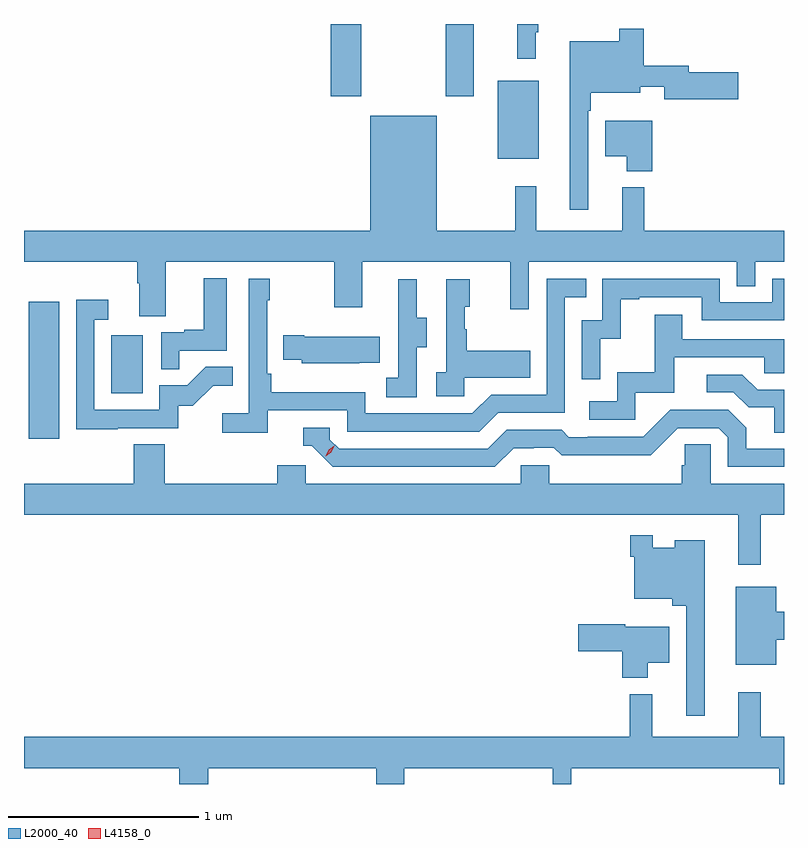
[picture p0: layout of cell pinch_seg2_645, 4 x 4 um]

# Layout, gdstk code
import gdstk
lib = gdstk.Library(unit=1e-6, precision=1e-09)
def R(c, l, rs):  # rectangles x0, y0, x1, y1
    for r in rs: c.add(gdstk.rectangle(r[:2], r[2:], *l))
def P(c, l, *ps):  # polygons
    for p in ps: c.add(gdstk.Polygon(p, *l))
L2000_40 = (2000, 40)
L4158_0 = (4158, 0)

pinch_seg2_645 = lib.new_cell('pinch_seg2_645')
R(pinch_seg2_645, L2000_40, [(1035.791,589.428,1035.952,590.149), (1036.226,589.668,1036.39,589.975), (1038.26,590.903,1038.475,591.313), (1037.381,591.231,1037.541,591.612), (1037.986,591.231,1038.133,591.612)])
P(pinch_seg2_645, L2000_40, [(1038.46,591.569),(1038.472,591.569),(1038.472,591.612),(1038.361,591.612),(1038.361,591.429),(1038.46,591.429)],
  [(1038.735,591.155),(1038.748,591.155),(1038.748,591.251),(1039.009,591.251),(1039.009,591.281),(1039.136,591.281),(1039.136,591.215),(1039.525,591.215),(1039.525,591.357),(1039.264,591.357),(1039.264,591.391),(1039.028,591.391),(1039.028,591.586),(1038.9,591.586),(1038.9,591.52),(1038.638,591.52),(1038.638,590.634),(1038.735,590.634)],
  [(1036.513,590.36),(1037.398,590.36),(1037.398,590.121),(1037.545,590.121),(1037.545,590.36),(1038.326,590.36),(1038.326,590.112),(1038.423,590.112),(1038.423,590.36),(1039.518,590.36),(1039.518,590.233),(1039.614,590.233),(1039.614,590.36),(1039.766,590.36),(1039.766,590.524),(1039.031,590.524),(1039.031,590.752),(1038.914,590.752),(1038.914,590.524),(1038.461,590.524),(1038.461,590.758),(1038.351,590.758),(1038.351,590.524),(1037.938,590.524),(1037.938,591.13),(1037.588,591.13),(1037.588,590.524),(1035.766,590.524),(1035.766,590.36),(1036.361,590.36),(1036.361,590.248),(1036.373,590.248),(1036.373,590.074),(1036.513,590.074)],
  [(1039.073,591.103),(1038.824,591.103),(1038.824,590.915),(1038.938,590.915),(1038.938,590.837),(1039.073,590.837)],
  [(1036.583,589.893),(1036.834,589.893),(1036.834,590.275),(1036.712,590.275),(1036.712,590.002),(1036.609,590.002),(1036.609,589.989),(1036.488,589.989),(1036.488,589.795),(1036.583,589.795)],
  [(1037.048,589.578),(1037.466,589.578),(1037.466,589.467),(1038.163,589.467),(1038.262,589.566),(1038.612,589.566),(1038.612,590.175),(1038.725,590.175),(1038.725,590.271),(1038.516,590.271),(1038.516,589.662),(1038.225,589.662),(1038.126,589.563),(1037.562,589.563),(1037.562,589.675),(1037.066,589.675),(1037.066,589.771),(1037.046,589.771),(1037.046,590.159),(1037.059,590.159),(1037.059,590.272),(1036.95,590.272),(1036.95,589.564),(1036.809,589.564),(1036.809,589.462),(1037.048,589.462)],
  [(1038.798,589.955),(1038.908,589.955),(1038.908,590.163),(1039.003,590.163),(1039.003,590.175),(1039.332,590.175),(1039.332,590.052),(1039.766,590.052),(1039.766,590.271),(1039.704,590.271),(1039.704,590.148),(1039.428,590.148),(1039.428,590.271),(1038.81,590.271),(1038.81,590.052),(1038.702,590.052),(1038.702,589.743),(1038.798,589.743)],
  [(1038.084,589.751),(1038.431,589.751),(1038.431,589.891),(1038.097,589.891),(1038.097,590.006),(1038.087,590.006),(1038.087,590.124),(1038.112,590.124),(1038.112,590.269),(1037.988,590.269),(1037.988,589.778),(1037.937,589.778),(1037.937,589.653),(1038.084,589.653)],
  [(1037.832,589.912),(1037.887,589.912),(1037.887,590.067),(1037.833,590.067),(1037.833,590.269),(1037.735,590.269),(1037.735,590.055),(1037.736,590.055),(1037.736,589.751),(1037.673,589.751),(1037.673,589.648),(1037.832,589.648)],
  [(1036.259,589.485),(1036.578,589.485),(1036.578,589.602),(1036.654,589.602),(1036.761,589.709),(1036.865,589.709),(1036.865,589.808),(1036.722,589.808),(1036.624,589.71),(1036.479,589.71),(1036.479,589.581),(1036.137,589.581),(1036.137,590.055),(1036.21,590.055),(1036.21,590.161),(1036.041,590.161),(1036.041,589.48),(1036.259,589.48)],
  [(1038.984,589.671),(1039.189,589.671),(1039.189,589.857),(1039.663,589.857),(1039.663,589.773),(1039.766,589.773),(1039.766,589.953),(1039.231,589.953),(1039.231,590.083),(1039.087,590.083),(1039.087,589.78),(1038.888,589.78),(1038.888,589.626),(1038.741,589.626),(1038.741,589.53),(1038.984,589.53)],
  [(1037.531,589.829),(1037.639,589.829),(1037.639,589.966),(1037.242,589.966),(1037.242,589.974),(1037.131,589.974),(1037.131,589.844),(1037.229,589.844),(1037.229,589.826),(1037.531,589.826)],
  [(1039.766,589.686),(1039.627,589.686),(1039.546,589.767),(1039.359,589.767),(1039.359,589.674),(1039.5,589.674),(1039.58,589.594),(1039.715,589.594),(1039.715,589.462),(1039.766,589.462)],
  [(1038.343,589.38),(1038.45,589.38),(1038.45,589.383),(1038.553,589.383),(1038.595,589.341),(1038.828,589.341),(1038.828,589.343),(1039.064,589.343),(1039.206,589.485),(1039.422,589.485),(1039.47,589.437),(1039.47,589.281),(1039.766,589.281),(1039.766,589.377),(1039.567,589.377),(1039.567,589.487),(1039.473,589.581),(1039.167,589.581),(1039.026,589.44),(1038.733,589.44),(1038.733,589.437),(1038.634,589.437),(1038.595,589.476),(1038.306,589.476),(1038.207,589.377),(1037.424,589.377),(1037.376,589.425),(1037.376,589.488),(1037.237,589.488),(1037.237,589.392),(1037.28,589.392),(1037.391,589.281),(1038.244,589.281)],
  [(1039.643,589.028),(1039.766,589.028),(1039.766,589.192),(1039.38,589.192),(1039.38,589.4),(1039.243,589.4),(1039.243,589.29),(1039.228,589.29),(1039.228,589.192),(1038.531,589.192),(1038.531,589.29),(1038.381,589.29),(1038.381,589.192),(1037.25,589.192),(1037.25,589.29),(1037.099,589.29),(1037.099,589.192),(1036.507,589.192),(1036.507,589.4),(1036.343,589.4),(1036.343,589.192),(1035.766,589.192),(1035.766,589.028),(1039.526,589.028),(1039.526,588.765),(1039.643,588.765)],
  [(1039.348,588.895),(1039.19,588.895),(1039.19,588.856),(1039.074,588.856),(1039.074,588.922),(1038.958,588.922),(1038.958,588.809),(1038.978,588.809),(1038.978,588.587),(1039.178,588.587),(1039.178,588.551),(1039.251,588.551),(1039.251,587.97),(1039.348,587.97)],
  [(1039.726,588.371),(1039.766,588.371),(1039.766,588.518),(1039.726,588.518),(1039.726,588.649),(1039.511,588.649),(1039.511,588.239),(1039.726,588.239)],
  [(1039.048,588.251),(1039.162,588.251),(1039.162,588.439),(1038.93,588.439),(1038.93,588.452),(1038.684,588.452),(1038.684,588.31),(1038.914,588.31),(1038.914,588.17),(1039.048,588.17)],
  [(1036.735,587.696),(1037.62,587.696),(1037.62,587.612),(1037.767,587.612),(1037.767,587.696),(1038.548,587.696),(1038.548,587.612),(1038.645,587.612),(1038.645,587.696),(1039.74,587.696),(1039.74,587.612),(1039.766,587.612),(1039.766,587.86),(1039.643,587.86),(1039.643,588.094),(1039.526,588.094),(1039.526,587.86),(1039.073,587.86),(1039.073,588.085),(1038.955,588.085),(1038.955,587.86),(1035.766,587.86),(1035.766,587.696),(1036.583,587.696),(1036.583,587.612),(1036.735,587.612)])
P(pinch_seg2_645, L4158_0, [(1037.353,589.338),(1037.353,589.339),(1037.369,589.371),(1037.4,589.391),(1037.4,589.391),(1037.4,589.391),(1037.384,589.358),(1037.354,589.338)])

lib.write_gds('pinch_seg2_645.gds')
